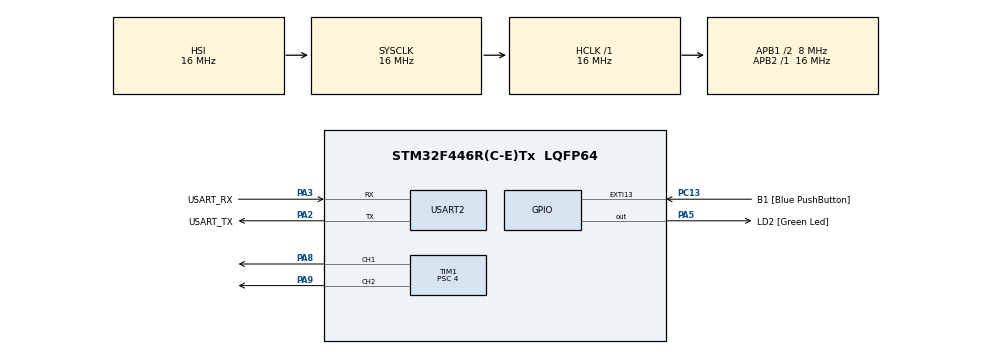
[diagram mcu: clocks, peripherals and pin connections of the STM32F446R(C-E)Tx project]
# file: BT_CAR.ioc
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Mcu.Family=STM32F4
Mcu.Name=STM32F446R(C-E)Tx
Mcu.Package=LQFP64
NVIC.PriorityGroup=NVIC_PRIORITYGROUP_0
PA13.GPIO_Label=TMS
PA13.Mode=Serial_Wire
PA13.Signal=SYS_JTMS-SWDIO
PA14.GPIO_Label=TCK
PA14.Mode=Serial_Wire
PA14.Signal=SYS_JTCK-SWCLK
PA2.GPIO_Label=USART_TX
PA2.Mode=Asynchronous
PA2.Signal=USART2_TX
PA3.GPIO_Label=USART_RX
PA3.Mode=Asynchronous
PA3.Signal=USART2_RX
PA5.GPIO_Label=LD2 [Green Led]
PA5.Signal=GPIO_Output
PA8.Signal=S_TIM1_CH1
PA9.Signal=S_TIM1_CH2
PB3.GPIO_Label=SWO
PB3.Signal=SYS_JTDO-SWO
PC13.GPIO_Label=B1 [Blue PushButton]
PC13.GPIO_ModeDefaultEXTI=GPIO_MODE_IT_FALLING
PC13.Signal=GPXTI13
PC14-OSC32_IN.Mode=LSE-External-Oscillator
PC14-OSC32_IN.Signal=RCC_OSC32_IN
PC15-OSC32_OUT.Mode=LSE-External-Oscillator
PC15-OSC32_OUT.Signal=RCC_OSC32_OUT
PH0-OSC_IN.Mode=HSE-External-Oscillator
PH0-OSC_IN.Signal=RCC_OSC_IN
PH1-OSC_OUT.Mode=HSE-External-Oscillator
PH1-OSC_OUT.Signal=RCC_OSC_OUT
ProjectManager.HeapSize=0x200
ProjectManager.StackSize=0x400
ProjectManager.TargetToolchain=STM32CubeIDE
RCC.48MHZClocksFreq_Value=84000000
RCC.AHBFreq_Value=16000000
RCC.APB1CLKDivider=RCC_HCLK_DIV2
RCC.APB1Freq_Value=8000000
RCC.APB1TimFreq_Value=16000000
RCC.APB2Freq_Value=16000000
RCC.APB2TimFreq_Value=16000000
RCC.CortexFreq_Value=16000000
RCC.FLatency-AdvancedSettings=FLASH_LATENCY_0
RCC.HCLKFreq_Value=16000000
RCC.HSE_VALUE=8000000
RCC.HSI_VALUE=16000000
RCC.PLLN=336
RCC.PLLP=RCC_PLLP_DIV4
RCC.SYSCLKFreq_VALUE=16000000
RCC.USBFreq_Value=168000000
RCC.VCOOutputFreq_Value=336000000
SH.S_TIM1_CH1.0=TIM1_CH1,PWM Generation1 CH1
SH.S_TIM1_CH2.0=TIM1_CH2,PWM Generation2 CH2
TIM1.Channel-PWM\ Generation1\ CH1=TIM_CHANNEL_1
TIM1.Channel-PWM\ Generation2\ CH2=TIM_CHANNEL_2
TIM1.Period=64000
TIM1.Prescaler=4
TIM1.Pulse-PWM\ Generation1\ CH1=4200
TIM1.Pulse-PWM\ Generation2\ CH2=4200
USART2.VirtualMode=VM_ASYNC
VP_TIM1_VS_ClockSourceINT.Mode=Internal
board=NUCLEO-F446RE

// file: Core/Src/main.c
/* USER CODE BEGIN Header */
/**
  ******************************************************************************
  * @file           : main.c
  * @brief          : Main program body
  ******************************************************************************
  * @attention
  *
  * Copyright (c) 2024 STMicroelectronics.
  * All rights reserved.
  *
  * This software is licensed under terms that can be found in the LICENSE file
  * in the root directory of this software component.
  * If no LICENSE file comes with this software, it is provided AS-IS.
  *
  ******************************************************************************
  */
/* USER CODE END Header */
#include "main.h"
#include "tim.h"
#include "usart.h"
#include "gpio.h"

void SystemClock_Config(void);

int main(void)
{

  /* USER CODE BEGIN 1 */
	uint8_t rxBuffer[4]; // Buffer to hold 4 bytes
	uint32_t receivedData;
  /* USER CODE END 1 */

  /* MCU Configuration--------------------------------------------------------*/

  /* Reset of all peripherals, Initializes the Flash interface and the Systick. */
  HAL_Init();

  /* Configure the system clock */
  SystemClock_Config();

  /* Initialize all configured peripherals */
  MX_GPIO_Init();
  MX_USART2_UART_Init();
  MX_TIM1_Init();
  /* USER CODE BEGIN 2 */

	__HAL_TIM_SET_COMPARE(&htim1, TIM_CHANNEL_1, PULSE_RANGE);

	// Start PWM signal on channel 1
	if (HAL_TIM_PWM_Start(&htim1, TIM_CHANNEL_1) != HAL_OK)
	{
	  // PWM Generation Error
	  Error_Handler();
	}

	__HAL_TIM_SET_COMPARE(&htim1, TIM_CHANNEL_2, PULSE_RANGE*1.5);

	// Start PWM signal on channel 1
	if (HAL_TIM_PWM_Start(&htim1, TIM_CHANNEL_2) != HAL_OK)
	{
	  // PWM Generation Error
	  Error_Handler();
	}

  /* USER CODE END 2 */

  /* Infinite loop */
  while (1)
  {

    /* USER CODE BEGIN 3 */
	  //Receive data if present
	  if (HAL_UART_Receive(&huart2, rxBuffer, 4, 1000) == HAL_OK)
	  {
	      // Combine the 4 bytes into a 32-bit integer
	      receivedData = (uint32_t)rxBuffer[0] << 24 |
	                     (uint32_t)rxBuffer[1] << 16 |
	                     (uint32_t)rxBuffer[2] << 8  |
	                     (uint32_t)rxBuffer[3];
	  }
	  else
	  {
		  receivedData = 0;
	  }

	  //deconstruct data into direction and speed (ex: 099200 -> speed = -0.99, direction = 20)
	  //set speed and direction
	  set_direction((receivedData%1000)%180);
	  if (receivedData%1000 >= 180)
	  {
		  set_speed((receivedData/1000)/100.0*(-1));
	  }
	  else
	  {
		  set_speed((receivedData/1000)/100.0);
	  }

	  HAL_Delay(100);
  }
  /* USER CODE END 3 */
}

void SystemClock_Config(void)
{
  RCC_OscInitTypeDef RCC_OscInitStruct = {0};
  RCC_ClkInitTypeDef RCC_ClkInitStruct = {0};

  /** Configure the main internal regulator output voltage
  */
  __HAL_RCC_PWR_CLK_ENABLE();
  __HAL_PWR_VOLTAGESCALING_CONFIG(PWR_REGULATOR_VOLTAGE_SCALE3);

  /** Initializes the RCC Oscillators according to the specified parameters
  * in the RCC_OscInitTypeDef structure.
  */
  RCC_OscInitStruct.OscillatorType = RCC_OSCILLATORTYPE_HSI;
  RCC_OscInitStruct.HSIState = RCC_HSI_ON;
  RCC_OscInitStruct.HSICalibrationValue = RCC_HSICALIBRATION_DEFAULT;
  RCC_OscInitStruct.PLL.PLLState = RCC_PLL_NONE;
  if (HAL_RCC_OscConfig(&RCC_OscInitStruct) != HAL_OK)
  {
    Error_Handler();
  }

  /** Initializes the CPU, AHB and APB buses clocks
  */
  RCC_ClkInitStruct.ClockType = RCC_CLOCKTYPE_HCLK|RCC_CLOCKTYPE_SYSCLK
                              |RCC_CLOCKTYPE_PCLK1|RCC_CLOCKTYPE_PCLK2;
  RCC_ClkInitStruct.SYSCLKSource = RCC_SYSCLKSOURCE_HSI;
  RCC_ClkInitStruct.AHBCLKDivider = RCC_SYSCLK_DIV1;
  RCC_ClkInitStruct.APB1CLKDivider = RCC_HCLK_DIV2;
  RCC_ClkInitStruct.APB2CLKDivider = RCC_HCLK_DIV1;

  if (HAL_RCC_ClockConfig(&RCC_ClkInitStruct, FLASH_LATENCY_0) != HAL_OK)
  {
    Error_Handler();
  }
}

/* USER CODE BEGIN 4 */
//set pulse of TIM_CHANNEL_2 based on speed
//Speed passed in as a float between -1 and 1
void set_speed(float speed)
{
	__HAL_TIM_SET_COMPARE(&htim1, TIM_CHANNEL_2, PULSE_RANGE*(1.5+speed/2.0));
}

//set pulse of TIM_CHANNEL_1 based on direction
//Direction passed in as a float between 0 and 180
void set_direction(float dir)
{
	__HAL_TIM_SET_COMPARE(&htim1, TIM_CHANNEL_1, PULSE_RANGE*(1+dir/180.0));
}
/* USER CODE END 4 */

void Error_Handler(void)
{
  __disable_irq();
  while (1)
  {
  }
}
